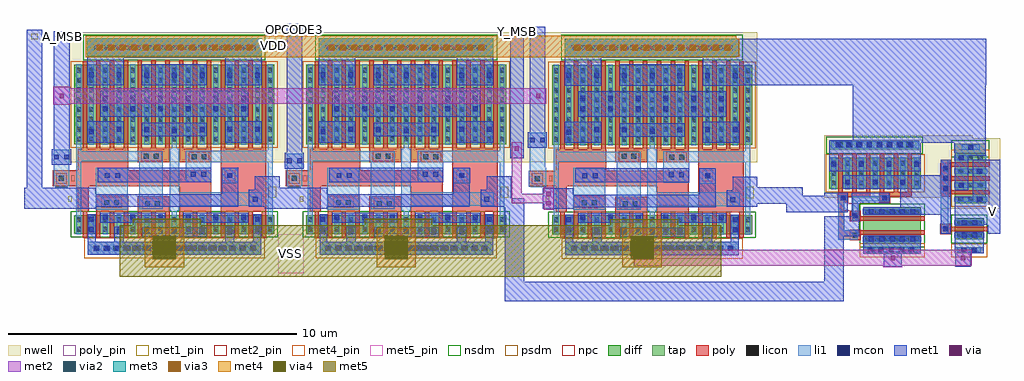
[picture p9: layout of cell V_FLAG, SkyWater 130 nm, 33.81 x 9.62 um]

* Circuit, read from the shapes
.subckt V_FLAG A_MSB B_MSB OPCODE3 V VDD VSS Y_MSB
XM1 VSS A_MSB n1 VSS sky130_fd_pr__nfet_01v8 w=0.65 l=0.15
XM2 n2 n3 VSS VSS sky130_fd_pr__nfet_01v8 w=0.65 l=0.15 m=3
XM3 XOR2_0/B n1 n2 VSS sky130_fd_pr__nfet_01v8 w=0.65 l=0.15 m=3
XM4 n4 A_MSB XOR2_0/B VSS sky130_fd_pr__nfet_01v8 w=0.65 l=0.15 m=3
XM5 VSS B_MSB n4 VSS sky130_fd_pr__nfet_01v8 w=0.65 l=0.15 m=3
XM6 n3 B_MSB VSS VSS sky130_fd_pr__nfet_01v8 w=0.65 l=0.15
XM7 VSS OPCODE3 n5 VSS sky130_fd_pr__nfet_01v8 w=0.65 l=0.15
XM8 n6 n7 VSS VSS sky130_fd_pr__nfet_01v8 w=0.65 l=0.15 m=3
XM9 NAND2_3/B n5 n6 VSS sky130_fd_pr__nfet_01v8 w=0.65 l=0.15 m=3
XM10 n8 OPCODE3 NAND2_3/B VSS sky130_fd_pr__nfet_01v8 w=0.65 l=0.15 m=3
XM11 VSS XOR2_0/B n8 VSS sky130_fd_pr__nfet_01v8 w=0.65 l=0.15 m=3
XM12 n7 XOR2_0/B VSS VSS sky130_fd_pr__nfet_01v8 w=0.65 l=0.15
XM13 VSS A_MSB n9 VSS sky130_fd_pr__nfet_01v8 w=0.65 l=0.15
XM14 n10 n11 VSS VSS sky130_fd_pr__nfet_01v8 w=0.65 l=0.15 m=3
XM15 NAND2_3/A n9 n10 VSS sky130_fd_pr__nfet_01v8 w=0.65 l=0.15 m=3
XM16 n12 A_MSB NAND2_3/A VSS sky130_fd_pr__nfet_01v8 w=0.65 l=0.15 m=3
XM17 VSS Y_MSB n12 VSS sky130_fd_pr__nfet_01v8 w=0.65 l=0.15 m=3
XM18 n11 Y_MSB VSS VSS sky130_fd_pr__nfet_01v8 w=0.65 l=0.15
XM19 n13 NAND2_3/A VSS VSS sky130_fd_pr__nfet_01v8 w=2 l=0.15
XM20 inv_4/A NAND2_3/B n13 VSS sky130_fd_pr__nfet_01v8 w=2 l=0.15
XM21 V inv_4/A VSS VSS sky130_fd_pr__nfet_01v8 w=1 l=0.15
XM22 VDD A_MSB n1 VDD sky130_fd_pr__pfet_01v8 w=2.75 l=0.15
XM23 n14 A_MSB VDD VDD sky130_fd_pr__pfet_01v8 w=2.75 l=0.15 m=3
XM24 XOR2_0/B n1 n14 VDD sky130_fd_pr__pfet_01v8 w=2.75 l=0.15 m=3
XM25 n14 n3 XOR2_0/B VDD sky130_fd_pr__pfet_01v8 w=2.75 l=0.15 m=3
XM26 VDD B_MSB n14 VDD sky130_fd_pr__pfet_01v8 w=2.75 l=0.15 m=3
XM27 n3 B_MSB VDD VDD sky130_fd_pr__pfet_01v8 w=2.75 l=0.15
XM28 VDD OPCODE3 n5 VDD sky130_fd_pr__pfet_01v8 w=2.75 l=0.15
XM29 n15 OPCODE3 VDD VDD sky130_fd_pr__pfet_01v8 w=2.75 l=0.15 m=3
XM30 NAND2_3/B n5 n15 VDD sky130_fd_pr__pfet_01v8 w=2.75 l=0.15 m=3
XM31 n15 n7 NAND2_3/B VDD sky130_fd_pr__pfet_01v8 w=2.75 l=0.15 m=3
XM32 VDD XOR2_0/B n15 VDD sky130_fd_pr__pfet_01v8 w=2.75 l=0.15 m=3
XM33 n7 XOR2_0/B VDD VDD sky130_fd_pr__pfet_01v8 w=2.75 l=0.15
XM34 VDD A_MSB n9 VDD sky130_fd_pr__pfet_01v8 w=2.75 l=0.15
XM35 n16 A_MSB VDD VDD sky130_fd_pr__pfet_01v8 w=2.75 l=0.15 m=3
XM36 NAND2_3/A n9 n16 VDD sky130_fd_pr__pfet_01v8 w=2.75 l=0.15 m=3
XM37 n16 n11 NAND2_3/A VDD sky130_fd_pr__pfet_01v8 w=2.75 l=0.15 m=3
XM38 VDD Y_MSB n16 VDD sky130_fd_pr__pfet_01v8 w=2.75 l=0.15 m=3
XM39 n11 Y_MSB VDD VDD sky130_fd_pr__pfet_01v8 w=2.75 l=0.15
XM40 inv_4/A NAND2_3/A VDD VDD sky130_fd_pr__pfet_01v8 w=1.07 l=0.15 m=3
XM41 VDD NAND2_3/B inv_4/A VDD sky130_fd_pr__pfet_01v8 w=1.07 l=0.15 m=3
XM42 VDD inv_4/A V VDD sky130_fd_pr__pfet_01v8 w=1.07 l=0.15 m=3
.ends

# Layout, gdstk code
from math import pi, radians
import gdstk
lib = gdstk.Library(unit=1e-6, precision=1e-09)
def R(c, l, rs):  # rectangles x0, y0, x1, y1
    for r in rs: c.add(gdstk.rectangle(r[:2], r[2:], *l))
def A(c, l, x, y, w, h, nx, ny, dx, dy):  # array of equal rectangles
    R(c, l, [(x+i*dx, y+j*dy, x+i*dx+w, y+j*dy+h) for i in range(nx) for j in range(ny)])
nwell = (64, 20)
diff = (65, 20)
tap = (65, 44)
poly_pin = (66, 16)
poly = (66, 20)
licon = (66, 44)
li1 = (67, 20)
mcon = (67, 44)
met1_pin = (68, 16)
met1 = (68, 20)
via = (68, 44)
met2_pin = (69, 16)
met2 = (69, 20)
via2 = (69, 44)
met3 = (70, 20)
via3 = (70, 44)
met4_pin = (71, 16)
met4 = (71, 20)
via4 = (71, 44)
met5_pin = (72, 16)
met5 = (72, 20)
nsdm = (93, 44)
psdm = (94, 20)
npc = (95, 20)

xor2 = lib.new_cell('XOR2')
R(xor2, nwell, [(-0.435,4.32,6.855,8.82)])
R(xor2, diff, [(-0.255,1.835,6.675,2.485), (-0.255,4.935,6.675,7.685)])
R(xor2, tap, [(0.21,1.11,6.22,1.565), (0.185,7.98,6.235,8.61)])
R(xor2, poly_pin, [(-0.36,3.66,-0.24,3.86)])
A(xor2, poly, 0.495, 1.705, 0.15, 0.89, 12, 1, 0.48, 0)
A(xor2, poly, 0.495, 4.78, 0.15, 3.06, 3, 1, 0.48, 0)
A(xor2, poly, 3.375, 4.78, 0.15, 3.06, 6, 1, 0.48, 0)
A(xor2, poly, 1.935, 4.785, 0.15, 3.055, 3, 1, 0.48, 0)
R(xor2, poly, [(0.035,1.705,0.185,2.61), (6.235,1.705,6.385,2.595), (0.495,2.595,1.605,3.16), (1.935,2.595,3.045,3.135), (3.375,2.595,4.485,3.485), (4.815,2.595,6.385,4.78), (-0.13,2.61,0.25,3.485), (-0.435,3.485,4.485,4.03), (-0.13,4.03,1.615,4.78), (3.375,4.315,4.485,4.78), (1.935,4.32,3.045,4.785), (0.035,4.78,0.185,7.815), (6.235,4.78,6.385,7.815)])
A(xor2, licon, 0.415, 1.255, 0.17, 0.17, 17, 2, 0.34, 6.95)
A(xor2, licon, 0.245, 1.905, 0.17, 0.17, 13, 2, 0.48, 0.34)
A(xor2, licon, -0.195, 5.035, 0.17, 0.17, 1, 8, 0, 0.34)
A(xor2, licon, 0.245, 5.035, 0.17, 0.17, 13, 8, 0.48, 0.34)
A(xor2, licon, 6.445, 5.035, 0.17, 0.17, 1, 8, 0, 0.34)
R(xor2, licon, [(-0.195,1.905,-0.025,2.075), (6.445,1.905,6.615,2.075), (-0.195,2.245,-0.025,2.415), (6.445,2.245,6.615,2.415), (2.195,2.795,2.365,2.965), (2.535,2.795,2.705,2.965), (0.78,2.835,0.95,3.005), (1.12,2.835,1.29,3.005), (5.05,3.77,5.22,3.94), (3.81,4.415,3.98,4.585), (4.15,4.415,4.32,4.585), (2.155,4.44,2.325,4.61), (2.495,4.44,2.665,4.61)])
A(xor2, li1, 0.245, 1.815, 0.17, 0.69, 6, 1, 0.48, 0)
A(xor2, li1, 3.605, 1.815, 0.17, 0.69, 6, 1, 0.48, 0)
A(xor2, li1, 0.245, 4.915, 0.17, 2.79, 6, 1, 0.48, 0)
A(xor2, li1, 3.605, 4.915, 0.17, 2.79, 6, 1, 0.48, 0)
R(xor2, li1, [(0.21,1.11,6.22,1.565), (-0.195,1.815,-0.025,4.345), (3.125,1.815,3.295,2.63), (6.445,1.815,6.615,4.32), (3.045,2.63,3.375,2.8), (0.485,2.675,1.59,4.125), (1.99,2.685,2.815,4.345), (3.045,2.8,6.245,3.28), (3.045,3.28,3.375,4.78), (4.85,3.585,5.425,4.115), (3.605,3.62,4.49,4.32), (3.605,4.32,6.615,4.705), (-0.195,4.345,2.815,4.69), (-0.195,4.69,-0.025,7.705), (6.445,4.705,6.615,7.705), (3.125,4.78,3.295,7.705), (0.185,7.98,6.235,8.61)])
A(xor2, mcon, 0.435, 1.255, 0.17, 0.17, 16, 2, 0.36, 6.95)
A(xor2, mcon, 1.205, 1.825, 0.17, 0.17, 5, 1, 0.96, 0)
A(xor2, mcon, 3.605, 2.33, 0.17, 0.17, 3, 1, 0.96, 0)
A(xor2, mcon, 0.725, 6.09, 0.17, 0.17, 5, 2, 0.96, 0.36)
A(xor2, mcon, 3.125, 7.24, 0.17, 0.17, 4, 1, 0.96, 0)
R(xor2, mcon, [(0.245,1.895,0.415,2.065), (6.005,1.895,6.175,2.065), (0.245,2.255,0.415,2.425), (6.005,2.255,6.175,2.425), (2.645,2.325,2.815,2.495), (0.725,2.33,0.895,2.5), (1.685,2.33,1.855,2.5), (5.92,2.945,6.09,3.115), (0.8,3.77,0.97,3.94), (1.16,3.77,1.33,3.94), (5.05,3.77,5.22,3.94), (3.785,3.81,3.955,3.98), (4.145,3.81,4.315,3.98), (0.245,5.28,0.415,5.45), (3.125,5.31,3.295,5.48), (2.165,5.355,2.335,5.525), (4.085,5.355,4.255,5.525), (1.205,5.37,1.375,5.54), (5.045,5.37,5.215,5.54), (6.005,5.37,6.175,5.54), (5.525,6.085,5.695,6.255), (5.525,6.445,5.695,6.615), (2.165,7.245,2.335,7.415), (0.245,7.255,0.415,7.425), (1.205,7.255,1.375,7.425)])
R(xor2, met1_pin, [(1.84,1.28,2.31,1.41), (-0.47,2.94,-0.35,3.14), (6.48,3.08,6.74,3.47)])
R(xor2, met1, [(0.21,1.11,6.22,1.565), (0.21,1.565,0.485,2.505), (1.135,1.565,1.46,2.08), (4.965,1.565,5.29,2.075), (5.945,1.565,6.22,2.505), (2.1,1.735,4.335,2.055), (0.645,2.22,2.895,2.56), (3.525,2.22,5.775,2.56), (-0.545,2.71,0.48,2.77), (-0.545,2.77,5.42,3.2), (5.79,2.775,6.855,3.355), (-0.545,3.2,0.48,3.425), (4.845,3.2,5.42,4.12), (6,3.355,6.855,3.82), (0.55,3.625,4.495,4.12), (0.185,4.995,1.455,5.73), (4.965,4.995,6.235,5.73), (2.085,5.215,4.335,5.675), (0.645,5.895,5.775,6.79), (0.185,6.98,1.455,7.94), (2.085,6.98,4.335,7.715), (4.965,6.98,6.235,7.94), (0.185,7.94,6.235,8.61)])
A(xor2, via, 0.585, 8.215, 0.15, 0.15, 17, 1, 0.32, 0)
R(xor2, via, [(2.79,1.285,2.94,1.435)])
R(xor2, met2_pin, [(2.19,8.22,2.66,8.35)])
R(xor2, met2, [(2.66,1.155,3.07,1.565), (0.185,7.98,6.235,8.61)])
A(xor2, via2, 0.52, 8.19, 0.2, 0.2, 14, 1, 0.4, 0)
R(xor2, via2, [(2.765,1.26,2.965,1.46)])
R(xor2, met3, [(2.59,1.11,3.22,1.565), (0.185,7.98,6.235,8.61)])
A(xor2, via3, 0.52, 8.19, 0.2, 0.2, 14, 1, 0.4, 0)
R(xor2, via3, [(2.765,1.26,2.965,1.46)])
R(xor2, met4, [(2.185,0.68,3.545,2.04), (0.185,7.98,6.235,8.61)])
R(xor2, via4, [(2.465,0.96,3.265,1.76)])
R(xor2, met5, [(1.77,0.385,4.12,2.355)])
R(xor2, nsdm, [(-0.38,1.71,6.8,2.61), (0.06,7.855,6.36,8.735)])
R(xor2, psdm, [(0.085,0.985,6.345,1.69), (-0.38,4.81,6.8,7.81)])
R(xor2, npc, [(2.095,2.695,2.805,3.065), (0.68,2.735,1.39,3.105), (4.95,3.67,5.32,4.04), (3.71,4.315,4.42,4.685), (2.055,4.34,2.765,4.71)])
xor2.add(gdstk.Label('A', (-0.3,3.76), layer=66, texttype=16))
xor2.add(gdstk.Label('B', (-0.41,3.04), layer=68, texttype=16))
xor2.add(gdstk.Label('VSS', (2.075,1.345), layer=68, texttype=16))
xor2.add(gdstk.Label('VDD', (2.425,8.285), layer=68, texttype=16))
xor2.add(gdstk.Label('Y', (6.61,3.275), layer=68, texttype=16))

pmos_p2_w321_l015_f3 = lib.new_cell('pmos_p2-w321-L015-f3')
R(pmos_p2_w321_l015_f3, nwell, [(-1.765,-0.715,1.765,0.845)])
R(pmos_p2_w321_l015_f3, diff, [(-1.585,-0.535,1.585,0.535)])
A(pmos_p2_w321_l015_f3, poly, -1.275, -0.69, 0.15, 1.355, 6, 1, 0.48, 0)
R(pmos_p2_w321_l015_f3, poly, [(-1.275,0.665,-0.165,0.815), (0.165,0.665,1.275,0.815)])
A(pmos_p2_w321_l015_f3, licon, -1.525, -0.425, 0.17, 0.17, 7, 3, 0.48, 0.34)
A(pmos_p2_w321_l015_f3, li1, -1.525, -0.555, 0.17, 1.11, 7, 1, 0.48, 0)
A(pmos_p2_w321_l015_f3, mcon, -1.525, -0.39, 0.17, 0.17, 4, 1, 0.96, 0)
A(pmos_p2_w321_l015_f3, mcon, -1.045, 0.22, 0.17, 0.17, 3, 1, 0.96, 0)
R(pmos_p2_w321_l015_f3, met1, [(-1.585,-0.535,1.585,-0.075), (-1.125,0.075,1.585,0.535)])
R(pmos_p2_w321_l015_f3, psdm, [(-1.71,-0.66,1.71,0.66)])

nmos_2shared_w200_l015_f = lib.new_cell('nmos_2shared_W200-L015-F1')
R(nmos_2shared_w200_l015_f, diff, [(-0.625,-1,0.625,1)])
R(nmos_2shared_w200_l015_f, poly, [(-0.315,-1.13,-0.165,1.13), (0.165,-1.13,0.315,1.13)])
A(nmos_2shared_w200_l015_f, licon, -0.565, -0.935, 0.17, 0.17, 1, 6, 0, 0.34)
A(nmos_2shared_w200_l015_f, licon, 0.395, -0.935, 0.17, 0.17, 1, 6, 0, 0.34)
R(nmos_2shared_w200_l015_f, li1, [(-0.565,-1.02,-0.395,1.02), (0.395,-1.02,0.565,1.02)])
A(nmos_2shared_w200_l015_f, mcon, -0.565, -0.805, 0.17, 0.17, 1, 5, 0, 0.36)
A(nmos_2shared_w200_l015_f, mcon, 0.395, -0.805, 0.17, 0.17, 1, 5, 0, 0.36)
R(nmos_2shared_w200_l015_f, met1, [(-0.595,-1,-0.365,1), (0.365,-1,0.595,1)])
R(nmos_2shared_w200_l015_f, nsdm, [(-0.75,-1.125,0.75,1.125)])

nand2 = lib.new_cell('NAND2')
R(nand2, nwell, [(1.78,3.42,5.31,4.02)])
R(nand2, diff, [(3.13,0.27,5.13,0.3), (4.97,0.73,4.98,0.74)])
R(nand2, tap, [(3.13,-0.085,5.13,0.27), (1.98,3.51,5.065,3.84)])
R(nand2, poly, [(2.265,0.395,3.02,0.73), (2.265,0.73,2.48,1.705), (2.69,1.06,3.57,1.21), (2.69,1.21,3.02,1.395), (2.265,1.705,2.6,2.04), (3.71,1.705,4.045,2.04)])
A(nand2, licon, 3.335, -0.03, 0.17, 0.17, 5, 1, 0.34, 0)
A(nand2, licon, 2.245, 3.6, 0.17, 0.17, 8, 1, 0.34, 0)
R(nand2, licon, [(2.77,0.475,2.94,0.645), (2.77,1.14,2.94,1.31), (2.35,1.76,2.52,1.93), (3.795,1.76,3.965,1.93)])
R(nand2, li1, [(3.13,-0.03,5.13,0.14), (2.265,0.395,2.94,0.73), (2.265,0.73,2.48,1.76), (2.77,1.06,2.94,1.735), (2.77,1.735,4.045,1.905), (2.265,1.76,2.6,1.935), (3.71,1.905,4.045,1.935), (2.02,3.57,5.065,3.805)])
A(nand2, mcon, 3.295, -0.03, 0.17, 0.17, 5, 1, 0.36, 0)
A(nand2, mcon, 2.175, 3.6, 0.17, 0.17, 8, 1, 0.36, 0)
R(nand2, mcon, [(2.77,1.14,2.94,1.31), (2.35,1.76,2.52,1.93), (3.795,1.76,3.965,1.93)])
R(nand2, met1, [(3.13,-0.085,5.13,0.525), (1.78,0.525,2.99,1.205), (2.74,1.205,2.99,1.66), (3.13,1.26,5.31,1.52), (1.78,1.35,2.6,2.025), (4.42,1.52,5.31,2.17), (2.74,1.66,4.04,2.03), (2.425,2.17,5.31,2.63), (1.955,2.775,5.125,3.84)])
R(nand2, nsdm, [(3.005,0.27,5.255,0.425), (4.845,0.425,5.105,0.865), (1.855,3.385,5.19,3.965)])
R(nand2, psdm, [(3.005,-0.21,5.255,0.27)])
R(nand2, npc, [(2.67,0.375,3.04,0.745), (2.67,1.04,3.04,1.4), (2.35,1.4,3.04,1.41), (2.35,1.41,2.94,1.66), (2.25,1.66,2.94,1.67), (3.695,1.66,4.065,2.03), (2.25,1.67,2.62,2.03)])
nand2.add(gdstk.Reference(pmos_p2_w321_l015_f3, (3.545,2.705), x_reflection=True))
nand2.add(gdstk.Reference(nmos_2shared_w200_l015_f, (4.13,0.895), rotation=3*pi/2))
nand2.add(gdstk.Label('A', (1.78,1.705), layer=68, texttype=16))
nand2.add(gdstk.Label('B', (1.78,0.865), layer=68, texttype=16))
nand2.add(gdstk.Label('VSS', (4.13,0.27), layer=68, texttype=16))
nand2.add(gdstk.Label('VDD', (3.545,3.42), layer=68, texttype=16))
nand2.add(gdstk.Label('Y', (5.31,2.255), layer=68, texttype=16))

sky130_fd_pr__nfet_01v8_ = lib.new_cell('sky130_fd_pr__nfet_01v8_6H9P4D')
R(sky130_fd_pr__nfet_01v8_, diff, [(-0.365,-0.5,0.365,0.5)])
R(sky130_fd_pr__nfet_01v8_, poly, [(-0.075,-0.63,0.075,0.63)])
A(sky130_fd_pr__nfet_01v8_, licon, -0.305, -0.425, 0.17, 0.17, 1, 3, 0, 0.34)
A(sky130_fd_pr__nfet_01v8_, licon, 0.135, -0.425, 0.17, 0.17, 1, 3, 0, 0.34)
R(sky130_fd_pr__nfet_01v8_, li1, [(-0.305,-0.52,-0.135,0.52), (0.135,-0.52,0.305,0.52)])
R(sky130_fd_pr__nfet_01v8_, mcon, [(-0.305,-0.265,-0.135,-0.095), (0.135,-0.265,0.305,-0.095), (-0.305,0.095,-0.135,0.265), (0.135,0.095,0.305,0.265)])
R(sky130_fd_pr__nfet_01v8_, met1, [(-0.335,-0.5,-0.105,0.5), (0.105,-0.5,0.335,0.5)])
R(sky130_fd_pr__nfet_01v8_, nsdm, [(-0.49,-0.625,0.49,0.625)])

efepmos_w107_l15_f3 = lib.new_cell('efepmos_W107-L15-F3')
R(efepmos_w107_l15_f3, nwell, [(-1.045,-1.035,1.045,0.845)])
R(efepmos_w107_l15_f3, diff, [(-0.865,-0.535,0.865,0.535)])
A(efepmos_w107_l15_f3, poly, -0.555, -0.69, 0.15, 1.355, 3, 1, 0.48, 0)
R(efepmos_w107_l15_f3, poly, [(-0.645,-1.02,0.645,-0.69)])
A(efepmos_w107_l15_f3, licon, -0.425, -0.94, 0.17, 0.17, 3, 1, 0.34, 0)
A(efepmos_w107_l15_f3, licon, -0.805, -0.425, 0.17, 0.17, 1, 3, 0, 0.34)
A(efepmos_w107_l15_f3, licon, 0.155, -0.425, 0.17, 0.17, 1, 3, 0, 0.34)
A(efepmos_w107_l15_f3, licon, -0.325, -0.415, 0.17, 0.17, 1, 3, 0, 0.34)
A(efepmos_w107_l15_f3, licon, 0.635, -0.415, 0.17, 0.17, 1, 3, 0, 0.34)
R(efepmos_w107_l15_f3, li1, [(-0.645,-0.94,0.645,-0.77), (-0.805,-0.555,-0.635,0.555), (-0.325,-0.555,-0.155,0.585), (0.155,-0.555,0.325,0.555), (0.635,-0.555,0.805,0.585)])
A(efepmos_w107_l15_f3, mcon, -0.445, -0.94, 0.17, 0.17, 3, 1, 0.36, 0)
R(efepmos_w107_l15_f3, mcon, [(-0.805,-0.395,-0.635,-0.225), (0.155,-0.395,0.325,-0.225), (-0.325,0.215,-0.155,0.385), (0.635,0.215,0.805,0.385)])
R(efepmos_w107_l15_f3, met1, [(-0.645,-1.02,0.645,-0.69), (-1.045,-0.535,0.405,-0.08), (-0.405,0.08,1.045,0.535)])
R(efepmos_w107_l15_f3, psdm, [(-0.99,-0.66,0.99,0.66)])
R(efepmos_w107_l15_f3, npc, [(-0.525,-1.04,0.525,-0.67)])

inv = lib.new_cell('inv')
R(inv, nwell, [(1.88,0,2.06,1.83), (1.63,1.44,1.715,1.45), (1.115,1.45,1.715,1.69), (0.505,1.735,0.52,1.83), (0,1.83,2.06,2.43)])
R(inv, tap, [(0.5,-1.555,1.5,-1.34), (0.5,1.91,1.57,2.24)])
R(inv, poly, [(0.015,-0.87,0.35,-0.78), (0.015,-0.78,0.375,-0.63), (0.015,-0.63,0.35,-0.54)])
R(inv, licon, [(0.73,-1.52,0.9,-1.35), (1.07,-1.52,1.24,-1.35), (0.095,-0.79,0.265,-0.62), (0.955,2.04,1.125,2.21)])
R(inv, li1, [(0.575,-1.52,1.395,-1.35), (0.015,-0.87,0.265,1.695), (0.735,2.04,1.35,2.21)])
R(inv, mcon, [(0.72,-1.52,0.89,-1.35), (1.08,-1.52,1.25,-1.35), (0.095,-0.79,0.265,-0.62), (0.955,2.04,1.125,2.21)])
R(inv, met1, [(0.5,-1.555,1.5,-0.805), (0,-0.875,0.345,0.4), (1.64,-0.875,2.06,-0.57), (0.5,-0.57,2.06,0.41), (0,0.4,0.265,1.69), (1.115,0.41,2.06,1.69), (0.505,1.735,0.52,1.83), (0.5,1.83,1.57,2.43)])
R(inv, nsdm, [(0.375,1.785,1.695,2.365)])
R(inv, psdm, [(0.375,-1.68,1.625,-1.215)])
R(inv, npc, [(-0.005,-0.89,0.365,-0.52)])
inv.add(gdstk.Reference(sky130_fd_pr__nfet_01v8_, (1,-0.705), rotation=3*pi/2))
inv.add(gdstk.Reference(efepmos_w107_l15_f3, (1.035,1.045), rotation=3*pi/2))
inv.add(gdstk.Label('A', (0,0.39), layer=68, texttype=16))
inv.add(gdstk.Label('VSS', (0.99,-1.555), layer=68, texttype=16))
inv.add(gdstk.Label('VDD', (1.05,2.43), layer=68, texttype=16))
inv.add(gdstk.Label('Y', (2.06,0.39), layer=68, texttype=16))

v_flag = lib.new_cell('V_FLAG')
R(v_flag, nwell, [(29.01,7.68,31.39,7.685), (28.85,7.685,31.39,7.71), (28.71,7.71,31.39,9.22), (-0.84,8.91,23,13.41), (28.665,9.22,31.39,9.58), (28.71,9.58,31.39,9.73), (28.8,9.73,30.47,9.845), (6.41,13.41,7.215,13.415)])
R(v_flag, poly, [(15.08,8.07,16.255,8.615), (-1.41,8.08,-0.295,8.625), (6.66,8.08,7.735,8.625)])
R(v_flag, licon, [(15.295,8.255,15.465,8.425), (-1.195,8.265,-1.025,8.435), (6.875,8.265,7.045,8.435)])
R(v_flag, li1, [(-1.33,8.05,-0.885,8.08), (6.74,8.05,7.185,8.08), (15.16,8.05,15.605,8.065), (15.08,8.065,15.69,8.615), (-1.375,8.08,-0.83,9.335), (6.69,8.08,7.235,9.2), (15.11,8.615,15.69,8.725), (15.11,8.725,15.655,9.925)])
R(v_flag, mcon, [(6.695,8.87,6.865,9.04), (7.055,8.87,7.225,9.04), (-1.37,9.005,-1.2,9.175), (-1.01,9.005,-0.84,9.175), (15.115,9.595,15.285,9.765), (15.475,9.595,15.645,9.765)])
R(v_flag, met1_pin, [(31.045,7.14,31.255,7.265), (-2.16,13.165,-1.925,13.355), (-1.185,13.175,-0.95,13.365), (14.6,13.375,14.81,13.5), (6.835,13.415,7.07,13.605)])
R(v_flag, met1, [(14.25,4.09,26,4.775), (14.25,4.775,14.935,7.595), (25.32,4.775,26,7.03), (27.375,5.28,28.01,5.9), (29.855,5.295,30.4,6.5), (27.425,5.9,27.97,6.25), (28.8,7.09,29.54,7.68), (31.045,7.14,31.255,7.265), (24.01,7.175,25.89,7.47), (15.57,7.295,16.345,8.01), (-2.405,7.305,-0.235,8.02), (5.935,7.305,7.795,8.02), (22.365,7.47,25.89,7.745), (13.795,7.595,14.935,7.655), (13.795,7.655,14.285,8.05), (28.675,7.68,29.54,7.71), (28.8,7.71,29.54,8.46), (22.365,7.745,24.58,8.04), (-2.315,8.02,-1.775,13.5), (13.795,8.05,14.36,8.28), (6.63,8.685,7.295,9.23), (-1.435,8.82,-0.77,9.365), (14.45,9.05,14.91,13.6), (6.69,9.23,7.235,13.71), (26.405,9.24,28.665,9.49), (29.825,9.24,30.905,9.49), (-1.37,9.365,-0.825,13.45), (15.05,9.41,15.715,9.955), (26.305,9.49,28.665,9.58), (29.825,9.49,30.92,9.58), (26.305,9.58,30.92,11.58), (15.11,9.955,15.655,13.6), (22.23,11.58,30.935,13.185)])
R(v_flag, via, [(27.62,5.52,27.77,5.67), (30.05,5.52,30.2,5.67), (15.695,7.415,15.845,7.565), (15.695,7.735,15.845,7.885), (14.59,9.315,14.74,9.465), (-1.175,11.13,-1.025,11.28), (15.335,11.13,15.485,11.28)])
R(v_flag, met2, [(27.37,5.275,28.025,5.325), (18.72,5.325,30.43,5.87), (18.72,5.87,19.265,6.255), (27.37,5.87,28.025,5.92), (15.6,7.265,15.945,7.48), (14.495,7.48,15.945,7.825), (14.495,7.825,14.84,9.595), (15.6,7.825,15.945,8.04), (-1.4,10.895,-0.8,10.935), (-1.4,10.935,15.685,11.48), (-1.4,11.48,-0.8,11.52)])
R(v_flag, met4_pin, [(6.1,12.76,6.41,13.12)])
R(v_flag, met4, [(-0.26,12.545,22.265,13.285)])
R(v_flag, met5_pin, [(6.41,5.06,7.28,6.41)])
R(v_flag, met5, [(0.905,4.945,21.76,6.73)])
R(v_flag, npc, [(15.195,8.155,15.565,8.525), (-1.295,8.165,-0.925,8.535), (6.775,8.165,7.145,8.535)])
v_flag.add(gdstk.Reference(xor2, (7.625,4.595)))
v_flag.add(gdstk.Reference(xor2, (-0.405,4.595)))
v_flag.add(gdstk.Reference(xor2, (16.145,4.585)))
v_flag.add(gdstk.Reference(nand2, (23.54,5.825)))
v_flag.add(gdstk.Reference(inv, (29.35,7.305)))
v_flag.add(gdstk.Label('A_MSB', (-1.067,13.27), layer=68, texttype=16))
v_flag.add(gdstk.Label('B_MSB', (-2.042,13.26), layer=68, texttype=16))
v_flag.add(gdstk.Label('OPCODE3', (6.952,13.51), layer=68, texttype=16))
v_flag.add(gdstk.Label('Y_MSB', (14.705,13.437), layer=68, texttype=16))
v_flag.add(gdstk.Label('V', (31.15,7.202), layer=68, texttype=16))
v_flag.add(gdstk.Label('VSS', (6.845,5.735), layer=72, texttype=16))
v_flag.add(gdstk.Label('VDD', (6.255,12.94), layer=71, texttype=16))

lib.write_gds('V_FLAG.gds')
